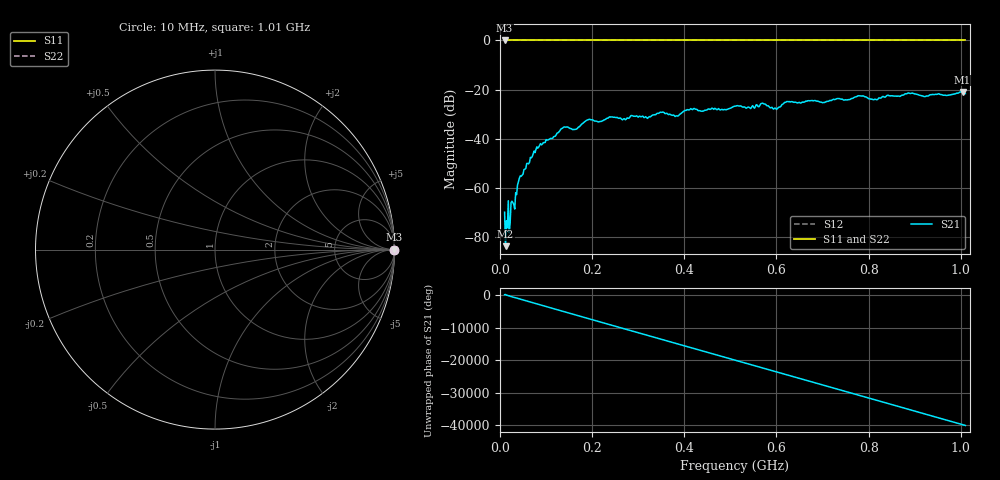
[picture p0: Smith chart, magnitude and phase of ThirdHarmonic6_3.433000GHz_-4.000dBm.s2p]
! 8/17/2025 11:02:42 AM
! C:\ANRITSUVNA\TEMP\TEMP.S2P
! CHANNEL.1
! TR.MEASUREMENT
! RAW.DATA
! RF.CORRECTION.OFF
! AVERAGING.OFF
! IF.BANDWIDTH: 5KHZ
! SWEEPTYPE:  FREQ.SWEEP(Linear)
! Reference Plane Port Info
! PORT:  PORT1  PORT2
! DISTANCE:  0  m  0  m
! TIME:  0  s  0  s
! PHASE.OFFSET:  0  deg.  0  deg.
! LOSS:  0  dB  0  dB
! REF.LOSS:  0  dB  0  dB
! REF.FREQ:  0  Hz  0  Hz
! Power Info
! POWER:  -20  dBm  -20  dBm
! EFF.POWER:  -20  dBm  -20  dBm
! SOURCE.ATTEN:  0  dB  0  dB
! TEST.ATTEN:  0  dB  0  dB
# GHZ S RI R 50.0
! FREQ.GHZ  S11RE  S11IM  S21RE  S21IM  S12RE  S12IM  S22RE  S22IM
!; PortSelection: Port_12
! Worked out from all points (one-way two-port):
!   501 points, 10 MHz to 1.01 GHz, reference 50 ohm
!   highest |S21| = -20.93 dB at 1.004 GHz (marker M1); lowest = -83.6 dB at 12 MHz (marker M2)
!   lowest |S11| = 0.0 dB at 10 MHz (marker M3)
!   |S11| at or under -10 dB: nowhere
!   |S22| runs from 0.0 to 0.0 dB; largest |S21 - S12| = 1.1
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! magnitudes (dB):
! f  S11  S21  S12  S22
! 10 MHz  0.0  -69.8  0.0  0.0
! 12 MHz  0.0  -83.6  0.0  0.0
! 16 MHz  0.0  -76.1  0.0  0.0
! 32 MHz  0.0  -68.5  0.0  0.0
! 42 MHz  0.0  -56.0  0.0  0.0
! 76 MHz  0.0  -45.6  0.0  0.0
! 136 MHz  0.0  -35.6  0.0  0.0
! 162 MHz  0.0  -36.2  0.0  0.0
! 178 MHz  0.0  -33.9  0.0  0.0
! 192 MHz  0.0  -32.2  0.0  0.0
! 322 MHz  0.0  -31.3  0.0  0.0
! 344 MHz  0.0  -29.6  0.0  0.0
! 384 MHz  0.0  -30.6  0.0  0.0
! 410 MHz  0.0  -28.3  0.0  0.0
! 510 MHz  0.0  -26.7  0.0  0.0
! 570 MHz  0.0  -25.4  0.0  0.0
! 598 MHz  0.0  -27.5  0.0  0.0
! 622 MHz  0.0  -24.8  0.0  0.0
! 678 MHz  0.0  -24.4  0.0  0.0
! 844 MHz  0.0  -22.4  0.0  0.0
! 1.004 GHz  0.0  -20.9  0.0  0.0
! 1.01 GHz  0.0  -21.6  0.0  0.0
